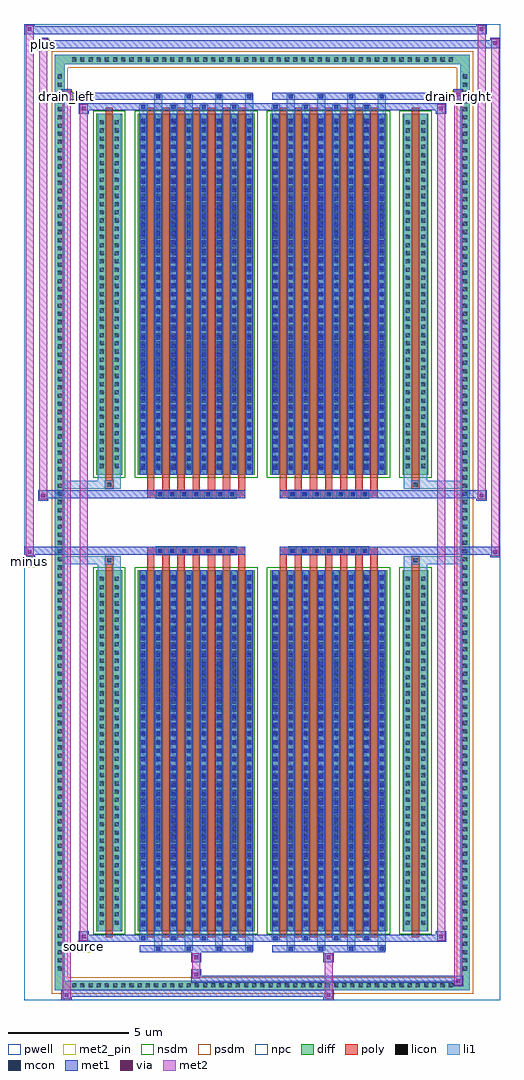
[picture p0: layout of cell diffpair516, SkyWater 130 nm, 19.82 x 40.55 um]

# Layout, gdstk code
import gdstk
lib = gdstk.Library(unit=1e-6, precision=5e-09)
def R(c, l, rs):  # rectangles x0, y0, x1, y1
    for r in rs: c.add(gdstk.rectangle(r[:2], r[2:], *l))
def A(c, l, x, y, w, h, nx, ny, dx, dy):  # array of equal rectangles
    R(c, l, [(x+i*dx, y+j*dy, x+i*dx+w, y+j*dy+h) for i in range(nx) for j in range(ny)])
def P(c, l, *ps):  # polygons
    for p in ps: c.add(gdstk.Polygon(p, *l))
pwell = (64, 44)
diff = (65, 20)
poly = (66, 20)
licon = (66, 44)
li1 = (67, 20)
mcon = (67, 44)
met1 = (68, 20)
via = (68, 44)
met2_pin = (69, 16)
met2 = (69, 20)
nsdm = (93, 44)
psdm = (94, 20)
npc = (95, 20)

diffpair516 = lib.new_cell('diffpair516')
R(diffpair516, pwell, [(-9.89,-19.84,9.89,20.71), (-7.21,-18.03,-0.01,-0.805), (0.01,-18.03,7.21,-0.805), (-7.21,0.805,-0.01,18.03), (0.01,0.805,7.21,18.03)])
A(diffpair516, diff, -8.025, -19.44, 0.41, 0.41, 47, 2, 0.34, 38.47)
A(diffpair516, diff, -8.62, -18.735, 0.41, 0.41, 1, 110, 0, 0.34)
A(diffpair516, diff, 8.21, -18.735, 0.41, 0.41, 1, 110, 0, 0.34)
R(diffpair516, diff, [(-8.025,-19.44,8.025,-19.03), (-8.62,-18.735,-8.21,18.735), (8.21,-18.735,8.62,18.735), (-6.9,-16.985,-5.82,-1.985), (-5.18,-16.985,-0.32,-1.985), (0.32,-16.985,5.18,-1.985), (5.82,-16.985,6.9,-1.985), (-6.9,1.985,-5.82,16.985), (-5.18,1.985,-0.32,16.985), (0.32,1.985,5.18,16.985), (5.82,1.985,6.9,16.985), (-8.025,19.03,8.025,19.44)])
P(diffpair516, diff, [(8.62,19.44),(-8.62,19.44),(-8.62,-19.03),(-8.21,-19.03),(-8.21,19.03),(8.21,19.03),(8.21,-19.03),(-8.21,-19.03),(-8.62,-19.03),(-8.62,-19.44),(8.62,-19.44)])
A(diffpair516, poly, -4.79, -17.235, 0.3, 15.5, 7, 2, 0.63, 18.97)
A(diffpair516, poly, 0.71, -17.235, 0.3, 15.5, 7, 2, 0.63, 18.97)
A(diffpair516, poly, -4.79, -1.735, 0.3, 0.4, 7, 2, 0.63, 3.07)
A(diffpair516, poly, 0.71, -1.735, 0.3, 0.4, 7, 2, 0.63, 3.07)
A(diffpair516, poly, -4.415, -1.335, 0.33, 0.33, 7, 2, 0.5, 2.34)
A(diffpair516, poly, 1.085, -1.335, 0.33, 0.33, 7, 2, 0.5, 2.34)
R(diffpair516, poly, [(-6.51,-17.235,-6.21,-1.735), (6.21,-17.235,6.51,-1.735), (-6.525,-1.735,-6.195,-1.405), (-6.525,-1.735,-6.195,-1.405), (6.195,-1.735,6.525,-1.405), (6.195,-1.735,6.525,-1.405), (-4.79,-1.335,-0.71,-1.005), (0.71,-1.335,4.79,-1.005), (-4.79,1.005,-0.71,1.335), (0.71,1.005,4.79,1.335), (-6.525,1.405,-6.195,1.735), (-6.525,1.405,-6.195,1.735), (6.195,1.405,6.525,1.735), (6.195,1.405,6.525,1.735), (-6.51,1.735,-6.21,17.235), (6.21,1.735,6.51,17.235)])
A(diffpair516, licon, -7.905, -19.32, 0.17, 0.17, 47, 2, 0.34, 38.47)
A(diffpair516, licon, -8.5, -18.615, 0.17, 0.17, 1, 110, 0, 0.34)
A(diffpair516, licon, 8.33, -18.615, 0.17, 0.17, 1, 110, 0, 0.34)
A(diffpair516, licon, -6.76, -16.71, 0.17, 0.17, 1, 43, 0, 0.34)
A(diffpair516, licon, -6.13, -16.71, 0.17, 0.17, 1, 43, 0, 0.34)
A(diffpair516, licon, -5.04, -16.71, 0.17, 0.17, 8, 43, 0.63, 0.34)
A(diffpair516, licon, 0.46, -16.71, 0.17, 0.17, 8, 43, 0.63, 0.34)
A(diffpair516, licon, 5.96, -16.71, 0.17, 0.17, 1, 43, 0, 0.34)
A(diffpair516, licon, 6.59, -16.71, 0.17, 0.17, 1, 43, 0, 0.34)
A(diffpair516, licon, -4.335, -1.255, 0.17, 0.17, 7, 2, 0.5, 2.34)
A(diffpair516, licon, 1.165, -1.255, 0.17, 0.17, 7, 2, 0.5, 2.34)
A(diffpair516, licon, -6.76, 2.26, 0.17, 0.17, 1, 43, 0, 0.34)
A(diffpair516, licon, -6.13, 2.26, 0.17, 0.17, 1, 43, 0, 0.34)
A(diffpair516, licon, -5.04, 2.26, 0.17, 0.17, 8, 43, 0.63, 0.34)
A(diffpair516, licon, 0.46, 2.26, 0.17, 0.17, 8, 43, 0.63, 0.34)
A(diffpair516, licon, 5.96, 2.26, 0.17, 0.17, 1, 43, 0, 0.34)
A(diffpair516, licon, 6.59, 2.26, 0.17, 0.17, 1, 43, 0, 0.34)
R(diffpair516, licon, [(-6.445,-1.655,-6.275,-1.485), (6.275,-1.655,6.445,-1.485), (-6.445,1.485,-6.275,1.655), (6.275,1.485,6.445,1.655)])
A(diffpair516, li1, -7.985, -19.4, 0.33, 0.33, 47, 2, 0.34, 38.47)
A(diffpair516, li1, -8.58, -18.695, 0.33, 0.33, 1, 110, 0, 0.34)
A(diffpair516, li1, 8.25, -18.695, 0.33, 0.33, 1, 110, 0, 0.34)
A(diffpair516, li1, -4.49, -17.79, 0.33, 0.805, 4, 2, 1.26, 34.775)
A(diffpair516, li1, -4.41, -17.79, 0.17, 0.17, 4, 2, 1.26, 35.41)
A(diffpair516, li1, 1.01, -17.79, 0.33, 0.805, 4, 2, 1.26, 34.775)
A(diffpair516, li1, 1.09, -17.79, 0.17, 0.17, 4, 2, 1.26, 35.41)
A(diffpair516, li1, -5.12, -17.36, 0.33, 0.375, 4, 2, 1.26, 34.345)
A(diffpair516, li1, -5.04, -17.36, 0.17, 0.17, 4, 2, 1.26, 34.55)
A(diffpair516, li1, 0.38, -17.36, 0.33, 0.375, 4, 2, 1.26, 34.345)
A(diffpair516, li1, 0.46, -17.36, 0.17, 0.17, 4, 2, 1.26, 34.55)
A(diffpair516, li1, -5.12, -16.985, 0.33, 15, 8, 2, 0.63, 18.97)
A(diffpair516, li1, 0.38, -16.985, 0.33, 15, 8, 2, 0.63, 18.97)
A(diffpair516, li1, -6.84, -16.79, 0.33, 0.33, 1, 43, 0, 0.34)
A(diffpair516, li1, -6.21, -16.79, 0.33, 0.33, 1, 43, 0, 0.34)
A(diffpair516, li1, -5.12, -16.79, 0.33, 0.33, 8, 43, 0.63, 0.34)
A(diffpair516, li1, 0.38, -16.79, 0.33, 0.33, 8, 43, 0.63, 0.34)
A(diffpair516, li1, 5.88, -16.79, 0.33, 0.33, 1, 43, 0, 0.34)
A(diffpair516, li1, 6.51, -16.79, 0.33, 0.33, 1, 43, 0, 0.34)
A(diffpair516, li1, -5.04, -16.77, 0.17, 0.17, 8, 41, 0.63, 0.36)
A(diffpair516, li1, -5.04, -16.77, 0.17, 14.57, 8, 2, 0.63, 18.97)
A(diffpair516, li1, 0.46, -16.77, 0.17, 0.17, 8, 41, 0.63, 0.36)
A(diffpair516, li1, 0.46, -16.77, 0.17, 14.57, 8, 2, 0.63, 18.97)
A(diffpair516, li1, -4.415, -1.335, 0.33, 0.33, 7, 2, 0.5, 2.34)
A(diffpair516, li1, 1.085, -1.335, 0.33, 0.33, 7, 2, 0.5, 2.34)
A(diffpair516, li1, -6.84, 2.18, 0.33, 0.33, 1, 43, 0, 0.34)
A(diffpair516, li1, -6.21, 2.18, 0.33, 0.33, 1, 43, 0, 0.34)
A(diffpair516, li1, -5.12, 2.18, 0.33, 0.33, 8, 43, 0.63, 0.34)
A(diffpair516, li1, 0.38, 2.18, 0.33, 0.33, 8, 43, 0.63, 0.34)
A(diffpair516, li1, 5.88, 2.18, 0.33, 0.33, 1, 43, 0, 0.34)
A(diffpair516, li1, 6.51, 2.18, 0.33, 0.33, 1, 43, 0, 0.34)
A(diffpair516, li1, -5.04, 2.2, 0.17, 0.17, 8, 41, 0.63, 0.36)
A(diffpair516, li1, 0.46, 2.2, 0.17, 0.17, 8, 41, 0.63, 0.36)
R(diffpair516, li1, [(-8.62,-19.44,-8.21,-19.03), (-8.62,-19.44,-8.21,-19.03), (-8.21,-19.44,8.21,-19.03), (8.21,-19.44,8.62,-19.03), (8.21,-19.44,8.62,-19.03), (-8.62,-19.03,-8.21,19.03), (8.21,-19.03,8.62,19.03), (-6.84,-16.985,-6.51,-1.985), (-6.21,-16.985,-5.88,-1.985), (5.88,-16.985,6.21,-1.985), (6.51,-16.985,6.84,-1.985), (-6.84,-1.985,-6.51,-1.405), (-6.21,-1.985,-5.88,-1.405), (5.88,-1.985,6.21,-1.405), (6.51,-1.985,6.84,-1.405), (-8.62,-1.735,-6.525,-1.405), (-6.84,-1.735,-6.525,-1.405), (-6.525,-1.735,-6.195,-1.405), (-6.195,-1.735,-5.88,-1.405), (5.88,-1.735,6.195,-1.405), (6.195,-1.735,6.525,-1.405), (6.195,-1.735,8.62,-1.405), (6.525,-1.735,6.84,-1.405), (-8.62,1.405,-6.525,1.735), (-6.84,1.405,-6.525,1.735), (-6.84,1.405,-6.51,1.985), (-6.525,1.405,-6.195,1.735), (-6.21,1.405,-5.88,1.985), (-6.195,1.405,-5.88,1.735), (5.88,1.405,6.195,1.735), (5.88,1.405,6.21,1.985), (6.195,1.405,6.525,1.735), (6.195,1.405,8.62,1.735), (6.51,1.405,6.84,1.985), (6.525,1.405,6.84,1.735), (-6.84,1.985,-6.51,16.985), (-6.21,1.985,-5.88,16.985), (5.88,1.985,6.21,16.985), (6.51,1.985,6.84,16.985), (-8.62,19.03,-8.21,19.44), (-8.62,19.03,-8.21,19.44), (-8.21,19.03,8.21,19.44), (8.21,19.03,8.62,19.44), (8.21,19.03,8.62,19.44)])
A(diffpair516, mcon, -4.41, -17.79, 0.17, 0.17, 4, 2, 1.26, 35.41)
A(diffpair516, mcon, 1.09, -17.79, 0.17, 0.17, 4, 2, 1.26, 35.41)
A(diffpair516, mcon, -5.04, -17.36, 0.17, 0.17, 4, 2, 1.26, 34.55)
A(diffpair516, mcon, 0.46, -17.36, 0.17, 0.17, 4, 2, 1.26, 34.55)
A(diffpair516, mcon, -5.04, -16.77, 0.17, 0.17, 8, 41, 0.63, 0.36)
A(diffpair516, mcon, 0.46, -16.77, 0.17, 0.17, 8, 41, 0.63, 0.36)
A(diffpair516, mcon, -4.335, -1.255, 0.17, 0.17, 7, 2, 0.5, 2.34)
A(diffpair516, mcon, 1.165, -1.255, 0.17, 0.17, 7, 2, 0.5, 2.34)
A(diffpair516, mcon, -5.04, 2.2, 0.17, 0.17, 8, 41, 0.63, 0.36)
A(diffpair516, mcon, 0.46, 2.2, 0.17, 0.17, 8, 41, 0.63, 0.36)
A(diffpair516, met1, -4.47, -17.85, 0.29, 0.29, 4, 2, 1.26, 35.41)
A(diffpair516, met1, 1.03, -17.85, 0.29, 0.29, 4, 2, 1.26, 35.41)
A(diffpair516, met1, -5.1, -17.42, 0.29, 0.29, 4, 2, 1.26, 34.55)
A(diffpair516, met1, 0.4, -17.42, 0.29, 0.29, 4, 2, 1.26, 34.55)
A(diffpair516, met1, -5.1, -16.985, 0.29, 15, 8, 2, 0.63, 18.97)
A(diffpair516, met1, 0.4, -16.985, 0.29, 15, 8, 2, 0.63, 18.97)
A(diffpair516, met1, -5.1, -16.83, 0.29, 0.29, 8, 41, 0.63, 0.36)
A(diffpair516, met1, 0.4, -16.83, 0.29, 0.29, 8, 41, 0.63, 0.36)
A(diffpair516, met1, -4.395, -1.315, 0.29, 0.29, 7, 2, 0.5, 2.34)
A(diffpair516, met1, 1.105, -1.315, 0.29, 0.29, 7, 2, 0.5, 2.34)
A(diffpair516, met1, -5.1, 2.14, 0.29, 0.29, 8, 41, 0.63, 0.36)
A(diffpair516, met1, 0.4, 2.14, 0.29, 0.29, 8, 41, 0.63, 0.36)
R(diffpair516, met1, [(-8.35,-19.84,-7.92,-19.41), (2.535,-19.84,2.965,-19.41), (-8.35,-19.7,2.965,-19.41), (7.92,-19.27,8.35,-18.84), (-2.965,-19.13,8.35,-18.84), (-2.965,-18.99,-2.535,-18.56), (-2.965,-18.28,-2.535,-17.85), (2.535,-18.28,2.965,-17.85), (-5.1,-17.85,-0.4,-17.56), (0.4,-17.85,5.1,-17.56), (-7.64,-17.42,-7.21,-16.99), (-7.64,-17.42,-5.1,-17.13), (-5.1,-17.42,-0.4,-17.13), (-0.4,-17.42,0.4,-17.13), (0.4,-17.42,5.1,-17.13), (5.1,-17.42,7.64,-17.13), (7.21,-17.42,7.64,-16.99), (-9.89,-1.435,-9.46,-1.005), (9.46,-1.435,9.89,-1.005), (-9.89,-1.335,-0.71,-1.005), (-4.79,-1.335,-0.71,-1.005), (0.71,-1.335,4.79,-1.005), (0.71,-1.335,9.89,-1.005), (-9.32,0.905,-8.89,1.335), (8.89,0.905,9.32,1.335), (-9.32,1.005,-4.79,1.335), (-4.79,1.005,-0.71,1.335), (0.71,1.005,4.79,1.335), (4.79,1.005,9.32,1.335), (-7.64,16.99,-7.21,17.42), (7.21,16.99,7.64,17.42), (-7.64,17.13,-5.1,17.42), (-5.1,17.13,-0.4,17.42), (-0.4,17.13,0.4,17.42), (0.4,17.13,5.1,17.42), (5.1,17.13,7.64,17.42), (-8.35,17.56,-7.92,17.99), (-8.35,17.56,-5.1,17.85), (-5.1,17.56,-0.4,17.85), (0.4,17.56,5.1,17.85), (5.1,17.56,8.35,17.85), (7.92,17.56,8.35,17.99), (-9.32,19.71,-8.89,20.14), (-9.32,19.71,-7.21,20.04), (-7.21,19.71,7.21,20.04), (7.21,19.71,9.89,20.04), (9.46,19.71,9.89,20.14), (-9.89,20.28,-9.46,20.71), (-9.89,20.28,-7.21,20.61), (-7.21,20.28,7.21,20.61), (7.21,20.28,9.32,20.61), (8.89,20.28,9.32,20.71)])
R(diffpair516, via, [(-8.21,-19.7,-8.06,-19.55), (2.675,-19.7,2.825,-19.55), (8.06,-19.13,8.21,-18.98), (-2.825,-18.85,-2.675,-18.7), (-2.825,-18.14,-2.675,-17.99), (2.675,-18.14,2.825,-17.99), (-7.5,-17.28,-7.35,-17.13), (7.35,-17.28,7.5,-17.13), (-9.75,-1.295,-9.6,-1.145), (9.6,-1.295,9.75,-1.145), (-9.18,1.045,-9.03,1.195), (9.03,1.045,9.18,1.195), (-7.5,17.13,-7.35,17.28), (7.35,17.13,7.5,17.28), (-8.21,17.7,-8.06,17.85), (8.06,17.7,8.21,17.85), (-9.18,19.85,-9.03,20), (9.6,19.85,9.75,20), (-9.75,20.42,-9.6,20.57), (9.03,20.42,9.18,20.57)])
R(diffpair516, met2_pin, [(-7.675,-17.87,-7.175,-17.37), (-9.925,-1.885,-9.425,-1.385), (-8.385,17.44,-7.885,17.94), (7.885,17.44,8.385,17.94), (-9.355,19.59,-8.855,20.09)])
R(diffpair516, met2, [(-8.3,-19.79,-7.97,-19.46), (-8.3,-19.79,-7.97,17.94), (2.585,-19.79,2.915,-19.46), (2.585,-19.46,2.915,-18.23), (7.97,-19.22,8.3,-18.89), (7.97,-19.22,8.3,17.94), (-2.915,-18.94,-2.585,-18.61), (-2.915,-18.61,-2.585,-18.23), (-2.915,-18.23,-2.585,-17.9), (2.585,-18.23,2.915,-17.9), (-7.59,-17.37,-7.26,-17.04), (-7.59,-17.37,-7.26,17.37), (7.26,-17.37,7.59,-17.04), (7.26,-17.37,7.59,17.37), (-9.84,-1.385,-9.51,-1.055), (-9.84,-1.385,-9.51,20.66), (9.51,-1.385,9.84,-1.055), (9.51,-1.385,9.84,20.09), (-9.27,0.955,-8.94,1.285), (-9.27,0.955,-8.94,20.09), (8.94,0.955,9.27,1.285), (8.94,0.955,9.27,20.66), (-7.59,17.04,-7.26,17.37), (7.26,17.04,7.59,17.37), (-8.3,17.61,-7.97,17.94), (7.97,17.61,8.3,17.94), (-9.27,19.76,-8.94,20.09), (9.51,19.76,9.84,20.09), (-9.84,20.33,-9.51,20.66), (8.94,20.33,9.27,20.66)])
P(diffpair516, met2, [(9.84,-1.385),(9.84,-1.385),(9.84,-1.055),(9.84,-1.055)],
  [(9.84,19.76),(9.84,19.76),(9.84,20.09),(9.84,20.09)],
  [(-9.51,-1.385),(-9.51,-1.385),(-9.51,-1.055),(-9.51,-1.055)],
  [(-9.51,20.33),(-9.51,20.33),(-9.51,20.66),(-9.51,20.66)],
  [(9.27,0.955),(9.27,0.955),(9.27,1.285),(9.27,1.285)],
  [(9.27,20.33),(9.27,20.33),(9.27,20.66),(9.27,20.66)],
  [(-8.94,0.955),(-8.94,0.955),(-8.94,1.285),(-8.94,1.285)],
  [(-8.94,19.76),(-8.94,19.76),(-8.94,20.09),(-8.94,20.09)],
  [(-7.97,-19.79),(-7.97,-19.79),(-7.97,-19.46),(-7.97,-19.46)],
  [(-7.97,17.61),(-7.97,17.61),(-7.97,17.94),(-7.97,17.94)],
  [(8.3,-19.22),(8.3,-19.22),(8.3,-18.89),(8.3,-18.89)],
  [(8.3,17.61),(8.3,17.61),(8.3,17.94),(8.3,17.94)],
  [(-7.26,-17.37),(-7.26,-17.37),(-7.26,-17.04),(-7.26,-17.04)],
  [(-7.26,17.04),(-7.26,17.04),(-7.26,17.37),(-7.26,17.37)],
  [(7.59,-17.37),(7.59,-17.37),(7.59,-17.04),(7.59,-17.04)],
  [(7.59,17.04),(7.59,17.04),(7.59,17.37),(7.59,17.37)])
R(diffpair516, nsdm, [(-7.03,-17.115,-5.69,-1.855), (-5.31,-17.115,-0.19,-1.855), (0.19,-17.115,5.31,-1.855), (5.69,-17.115,7.03,-1.855), (-7.03,1.855,-5.69,17.115), (-5.31,1.855,-0.19,17.115), (0.19,1.855,5.31,17.115), (5.69,1.855,7.03,17.115)])
P(diffpair516, psdm, [(8.75,19.57),(-8.75,19.57),(-8.75,-18.9),(-8.08,-18.9),(-8.08,18.9),(8.08,18.9),(8.08,-18.9),(-8.08,-18.9),(-8.75,-18.9),(-8.75,-19.57),(8.75,-19.57)])
A(diffpair516, npc, -4.435, -1.355, 0.37, 0.37, 7, 2, 0.5, 2.34)
A(diffpair516, npc, 1.065, -1.355, 0.37, 0.37, 7, 2, 0.5, 2.34)
R(diffpair516, npc, [(-6.545,-1.755,-6.175,-1.385), (6.175,-1.755,6.545,-1.385), (-4.435,-1.355,-3.565,-0.985), (-4.435,-1.355,-3.565,-0.985), (-3.935,-1.355,-3.065,-0.985), (-3.935,-1.355,-3.065,-0.985), (-3.435,-1.355,-2.565,-0.985), (-3.435,-1.355,-2.565,-0.985), (-2.935,-1.355,-2.065,-0.985), (-2.935,-1.355,-2.065,-0.985), (-2.435,-1.355,-1.565,-0.985), (-2.435,-1.355,-1.565,-0.985), (-1.935,-1.355,-1.065,-0.985), (-1.935,-1.355,-1.065,-0.985), (1.065,-1.355,1.935,-0.985), (1.065,-1.355,1.935,-0.985), (1.565,-1.355,2.435,-0.985), (1.565,-1.355,2.435,-0.985), (2.065,-1.355,2.935,-0.985), (2.065,-1.355,2.935,-0.985), (2.565,-1.355,3.435,-0.985), (2.565,-1.355,3.435,-0.985), (3.065,-1.355,3.935,-0.985), (3.065,-1.355,3.935,-0.985), (3.565,-1.355,4.435,-0.985), (3.565,-1.355,4.435,-0.985), (-4.435,0.985,-3.565,1.355), (-4.435,0.985,-3.565,1.355), (-3.935,0.985,-3.065,1.355), (-3.935,0.985,-3.065,1.355), (-3.435,0.985,-2.565,1.355), (-3.435,0.985,-2.565,1.355), (-2.935,0.985,-2.065,1.355), (-2.935,0.985,-2.065,1.355), (-2.435,0.985,-1.565,1.355), (-2.435,0.985,-1.565,1.355), (-1.935,0.985,-1.065,1.355), (-1.935,0.985,-1.065,1.355), (1.065,0.985,1.935,1.355), (1.065,0.985,1.935,1.355), (1.565,0.985,2.435,1.355), (1.565,0.985,2.435,1.355), (2.065,0.985,2.935,1.355), (2.065,0.985,2.935,1.355), (2.565,0.985,3.435,1.355), (2.565,0.985,3.435,1.355), (3.065,0.985,3.935,1.355), (3.065,0.985,3.935,1.355), (3.565,0.985,4.435,1.355), (3.565,0.985,4.435,1.355), (-6.545,1.385,-6.175,1.755), (6.175,1.385,6.545,1.755)])
diffpair516.add(gdstk.Label('minus', (-9.675,-1.635), layer=69, texttype=5))
diffpair516.add(gdstk.Label('drain_right', (8.135,17.69), layer=69, texttype=5))
diffpair516.add(gdstk.Label('drain_left', (-8.135,17.69), layer=69, texttype=5))
diffpair516.add(gdstk.Label('source', (-7.425,-17.62), layer=69, texttype=5))
diffpair516.add(gdstk.Label('plus', (-9.105,19.84), layer=69, texttype=5))

lib.write_gds('diffpair516.gds')
